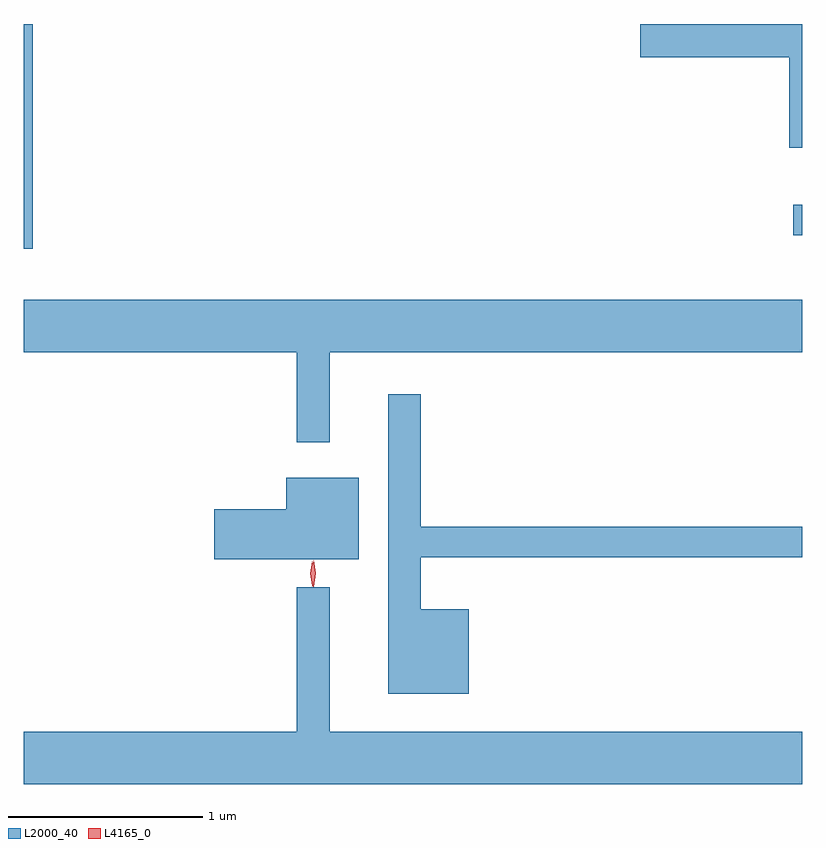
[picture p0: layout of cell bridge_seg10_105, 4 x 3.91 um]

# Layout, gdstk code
import gdstk
lib = gdstk.Library(unit=1e-6, precision=1e-09)
def R(c, l, rs):  # rectangles x0, y0, x1, y1
    for r in rs: c.add(gdstk.rectangle(r[:2], r[2:], *l))
def P(c, l, *ps):  # polygons
    for p in ps: c.add(gdstk.Polygon(p, *l))
L2000_40 = (2000, 40)
L4165_0 = (4165, 0)

bridge_seg10_105 = lib.new_cell('bridge_seg10_105')
R(bridge_seg10_105, L2000_40, [(1557.788,2147.746,1557.834,2148.902), (1561.743,2147.816,1561.788,2147.974)])
P(bridge_seg10_105, L2000_40, [(1561.788,2148.902),(1560.956,2148.902),(1560.956,2148.731),(1561.721,2148.731),(1561.721,2148.266),(1561.788,2148.266)],
  [(1559.359,2147.216),(1561.788,2147.216),(1561.788,2147.484),(1557.788,2147.484),(1557.788,2147.216),(1559.191,2147.216),(1559.191,2146.753),(1559.359,2146.753)],
  [(1560.074,2145.894),(1559.829,2145.894),(1559.829,2146.161),(1561.788,2146.161),(1561.788,2146.319),(1559.829,2146.319),(1559.829,2146.998),(1559.661,2146.998),(1559.661,2145.461),(1560.074,2145.461)],
  [(1559.509,2146.569),(1559.136,2146.569),(1559.136,2146.409),(1558.766,2146.409),(1558.766,2146.151),(1559.509,2146.151)],
  [(1561.788,2145.264),(1559.359,2145.264),(1559.359,2146.008),(1559.191,2146.008),(1559.191,2145.264),(1557.788,2145.264),(1557.788,2144.996),(1561.788,2144.996)])
P(bridge_seg10_105, L4165_0, [(1559.271,2146.013),(1559.271,2146.014),(1559.261,2146.076),(1559.27,2146.14),(1559.271,2146.14),(1559.271,2146.14),(1559.281,2146.076),(1559.272,2146.014)],
  [(1559.276,2146.01),(1559.276,2146.01),(1559.267,2146.078),(1559.278,2146.146),(1559.278,2146.146),(1559.278,2146.146),(1559.287,2146.078),(1559.277,2146.01)])

lib.write_gds('bridge_seg10_105.gds')
